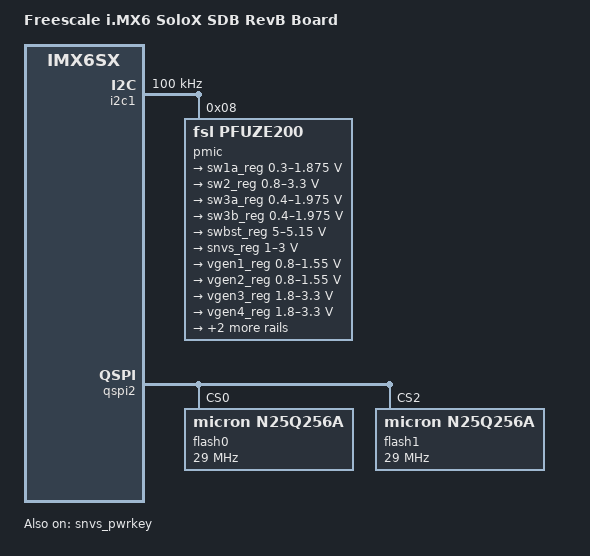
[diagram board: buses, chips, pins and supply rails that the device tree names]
// SPDX-License-Identifier: GPL-2.0
//
// Copyright (C) 2015 Freescale Semiconductor, Inc.

#include "imx6sx-sdb.dtsi"

/ {
	model = "Freescale i.MX6 SoloX SDB RevB Board";
};

&i2c1 {
	clock-frequency = <100000>;
	pinctrl-names = "default";
	pinctrl-0 = <&pinctrl_i2c1>;
	status = "okay";

	pmic: pfuze100@8 {
		compatible = "fsl,pfuze200";
		reg = <0x08>;

		regulators {
			sw1a_reg: sw1ab {
				regulator-min-microvolt = <300000>;
				regulator-max-microvolt = <1875000>;
				regulator-boot-on;
				regulator-always-on;
				regulator-ramp-delay = <6250>;
			};

			sw2_reg: sw2 {
				regulator-min-microvolt = <800000>;
				regulator-max-microvolt = <3300000>;
				regulator-boot-on;
				regulator-always-on;
			};

			sw3a_reg: sw3a {
				regulator-min-microvolt = <400000>;
				regulator-max-microvolt = <1975000>;
				regulator-boot-on;
				regulator-always-on;
			};

			sw3b_reg: sw3b {
				regulator-min-microvolt = <400000>;
				regulator-max-microvolt = <1975000>;
				regulator-boot-on;
				regulator-always-on;
			};

			swbst_reg: swbst {
				regulator-min-microvolt = <5000000>;
				regulator-max-microvolt = <5150000>;
			};

			snvs_reg: vsnvs {
				regulator-min-microvolt = <1000000>;
				regulator-max-microvolt = <3000000>;
				regulator-boot-on;
				regulator-always-on;
			};

			vref_reg: vrefddr {
				regulator-boot-on;
				regulator-always-on;
			};

			vgen1_reg: vgen1 {
				regulator-min-microvolt = <800000>;
				regulator-max-microvolt = <1550000>;
				regulator-always-on;
			};

			vgen2_reg: vgen2 {
				regulator-min-microvolt = <800000>;
				regulator-max-microvolt = <1550000>;
			};

			vgen3_reg: vgen3 {
				regulator-min-microvolt = <1800000>;
				regulator-max-microvolt = <3300000>;
				regulator-always-on;
			};

			vgen4_reg: vgen4 {
				regulator-min-microvolt = <1800000>;
				regulator-max-microvolt = <3300000>;
				regulator-always-on;
			};

			vgen5_reg: vgen5 {
				regulator-min-microvolt = <1800000>;
				regulator-max-microvolt = <3300000>;
				regulator-always-on;
			};

			vgen6_reg: vgen6 {
				regulator-min-microvolt = <1800000>;
				regulator-max-microvolt = <3300000>;
				regulator-always-on;
			};
		};
	};
};

&qspi2 {
	pinctrl-names = "default";
	pinctrl-0 = <&pinctrl_qspi2>;
	status = "okay";

	flash0: n25q256a@0 {
		#address-cells = <1>;
		#size-cells = <1>;
		compatible = "micron,n25q256a", "jedec,spi-nor";
		spi-max-frequency = <29000000>;
		spi-rx-bus-width = <4>;
		spi-tx-bus-width = <1>;
		reg = <0>;
	};

	flash1: n25q256a@2 {
		#address-cells = <1>;
		#size-cells = <1>;
		compatible = "micron,n25q256a", "jedec,spi-nor";
		spi-max-frequency = <29000000>;
		spi-rx-bus-width = <4>;
		spi-tx-bus-width = <1>;
		reg = <2>;
	};
};

&reg_arm {
	vin-supply = <&sw1a_reg>;
};

&reg_soc {
	vin-supply = <&sw1a_reg>;
};

&reg_vdd1p1 {
	vin-supply = <&vgen6_reg>;
};

&reg_vdd2p5 {
	vin-supply = <&vgen6_reg>;
};

&reg_can_stby {
	/* Transceiver EN/STBY is active low on RevB board */
	gpio = <&gpio4 27 GPIO_ACTIVE_LOW>;
};

&snvs_pwrkey {
	status = "okay";
};
